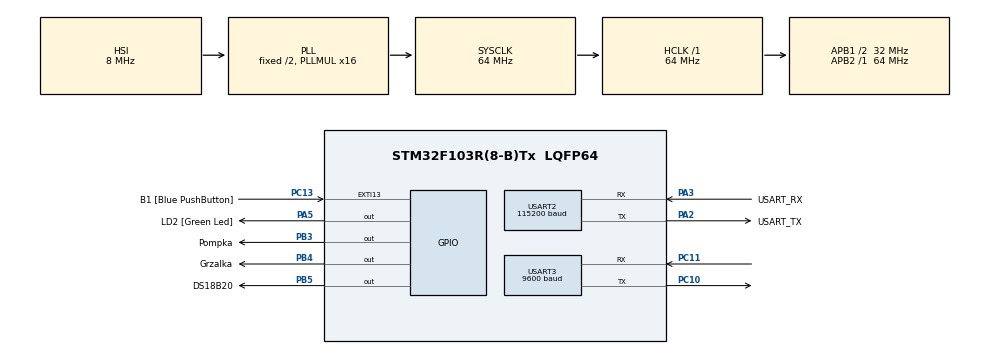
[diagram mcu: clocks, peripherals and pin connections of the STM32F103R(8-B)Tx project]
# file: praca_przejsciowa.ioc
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Dma.Request0=USART2_RX
Dma.Request1=USART2_TX
Dma.Request2=USART3_RX
Dma.Request3=USART3_TX
Dma.USART2_RX.0.Direction=DMA_PERIPH_TO_MEMORY
Dma.USART2_RX.0.Instance=DMA1_Channel6
Dma.USART2_RX.0.MemDataAlignment=DMA_MDATAALIGN_BYTE
Dma.USART2_RX.0.MemInc=DMA_MINC_ENABLE
Dma.USART2_RX.0.Mode=DMA_NORMAL
Dma.USART2_RX.0.PeriphDataAlignment=DMA_PDATAALIGN_BYTE
Dma.USART2_RX.0.PeriphInc=DMA_PINC_DISABLE
Dma.USART2_RX.0.Priority=DMA_PRIORITY_LOW
Dma.USART2_TX.1.Direction=DMA_MEMORY_TO_PERIPH
Dma.USART2_TX.1.Instance=DMA1_Channel7
Dma.USART2_TX.1.MemDataAlignment=DMA_MDATAALIGN_BYTE
Dma.USART2_TX.1.MemInc=DMA_MINC_ENABLE
Dma.USART2_TX.1.Mode=DMA_NORMAL
Dma.USART2_TX.1.PeriphDataAlignment=DMA_PDATAALIGN_BYTE
Dma.USART2_TX.1.PeriphInc=DMA_PINC_DISABLE
Dma.USART2_TX.1.Priority=DMA_PRIORITY_LOW
Dma.USART3_RX.2.Direction=DMA_PERIPH_TO_MEMORY
Dma.USART3_RX.2.Instance=DMA1_Channel3
Dma.USART3_RX.2.MemDataAlignment=DMA_MDATAALIGN_BYTE
Dma.USART3_RX.2.MemInc=DMA_MINC_ENABLE
Dma.USART3_RX.2.Mode=DMA_NORMAL
Dma.USART3_RX.2.PeriphDataAlignment=DMA_PDATAALIGN_BYTE
Dma.USART3_RX.2.PeriphInc=DMA_PINC_DISABLE
Dma.USART3_RX.2.Priority=DMA_PRIORITY_LOW
Dma.USART3_TX.3.Direction=DMA_MEMORY_TO_PERIPH
Dma.USART3_TX.3.Instance=DMA1_Channel2
Dma.USART3_TX.3.MemDataAlignment=DMA_MDATAALIGN_BYTE
Dma.USART3_TX.3.MemInc=DMA_MINC_ENABLE
Dma.USART3_TX.3.Mode=DMA_NORMAL
Dma.USART3_TX.3.PeriphDataAlignment=DMA_PDATAALIGN_BYTE
Dma.USART3_TX.3.PeriphInc=DMA_PINC_DISABLE
Dma.USART3_TX.3.Priority=DMA_PRIORITY_LOW
Mcu.Family=STM32F1
Mcu.Name=STM32F103R(8-B)Tx
Mcu.Package=LQFP64
NVIC.DMA1_Channel2_IRQn=true\:0\:0\:false\:false\:true\:false\:true
NVIC.DMA1_Channel3_IRQn=true\:0\:0\:false\:false\:true\:false\:true
NVIC.DMA1_Channel6_IRQn=true\:0\:0\:false\:false\:true\:false\:true
NVIC.DMA1_Channel7_IRQn=true\:0\:0\:false\:false\:true\:false\:true
NVIC.EXTI15_10_IRQn=true\:0\:0\:false\:false\:true\:true\:true
NVIC.PriorityGroup=NVIC_PRIORITYGROUP_4
NVIC.TIM1_BRK_IRQn=true\:0\:0\:false\:false\:true\:true\:true
NVIC.TIM1_CC_IRQn=true\:0\:0\:false\:false\:true\:true\:true
NVIC.TIM1_TRG_COM_IRQn=true\:0\:0\:false\:false\:true\:true\:true
NVIC.TIM1_UP_IRQn=true\:0\:0\:false\:false\:true\:true\:true
NVIC.TIM2_IRQn=true\:0\:0\:false\:false\:true\:true\:true
NVIC.USART2_IRQn=true\:0\:0\:false\:false\:true\:true\:true
NVIC.USART3_IRQn=true\:0\:0\:false\:false\:true\:true\:true
PA13.GPIO_Label=TMS
PA13.Mode=Serial_Wire
PA13.Signal=SYS_JTMS-SWDIO
PA14.GPIO_Label=TCK
PA14.Mode=Serial_Wire
PA14.Signal=SYS_JTCK-SWCLK
PA2.GPIO_Label=USART_TX
PA2.GPIO_Mode=GPIO_MODE_AF_PP
PA2.GPIO_PuPd=GPIO_NOPULL
PA2.GPIO_Speed=GPIO_SPEED_FREQ_LOW
PA2.Mode=Asynchronous
PA2.Signal=USART2_TX
PA3.GPIO_Label=USART_RX
PA3.GPIO_Mode=GPIO_MODE_AF_PP
PA3.GPIO_PuPd=GPIO_NOPULL
PA3.GPIO_Speed=GPIO_SPEED_FREQ_LOW
PA3.Mode=Asynchronous
PA3.Signal=USART2_RX
PA5.GPIO_Label=LD2 [Green Led]
PA5.GPIO_ModeDefaultOutputPP=GPIO_MODE_OUTPUT_PP
PA5.GPIO_PuPd=GPIO_NOPULL
PA5.GPIO_Speed=GPIO_SPEED_FREQ_LOW
PA5.Signal=GPIO_Output
PB3.GPIO_Label=Pompka
PB3.Signal=GPIO_Output
PB4.GPIO_Label=Grzalka
PB4.Signal=GPIO_Output
PB5.GPIO_Label=DS18B20
PB5.Signal=GPIO_Output
PC10.Mode=Asynchronous
PC10.Signal=USART3_TX
PC11.Mode=Asynchronous
PC11.Signal=USART3_RX
PC13-TAMPER-RTC.GPIO_Label=B1 [Blue PushButton]
PC13-TAMPER-RTC.GPIO_PuPd=GPIO_NOPULL
PC13-TAMPER-RTC.Signal=GPXTI13
PC14-OSC32_IN.Mode=LSE-External-Oscillator
PC14-OSC32_IN.Signal=RCC_OSC32_IN
PC15-OSC32_OUT.Mode=LSE-External-Oscillator
PC15-OSC32_OUT.Signal=RCC_OSC32_OUT
PD0-OSC_IN.Mode=HSE-External-Clock-Source
PD0-OSC_IN.Signal=RCC_OSC_IN
PD1-OSC_OUT.Mode=HSE-External-Clock-Source
PD1-OSC_OUT.Signal=RCC_OSC_OUT
ProjectManager.HeapSize=0x200
ProjectManager.StackSize=0x400
ProjectManager.TargetToolchain=STM32CubeIDE
RCC.AHBFreq_Value=64000000
RCC.APB1CLKDivider=RCC_HCLK_DIV2
RCC.APB1Freq_Value=32000000
RCC.APB1TimFreq_Value=64000000
RCC.APB2Freq_Value=64000000
RCC.APB2TimFreq_Value=64000000
RCC.HCLKFreq_Value=64000000
RCC.PLLMUL=RCC_PLL_MUL16
RCC.RTCClockSelection=RCC_RTCCLKSOURCE_LSE
RCC.SYSCLKFreq_VALUE=64000000
RCC.SYSCLKSource=RCC_SYSCLKSOURCE_PLLCLK
RCC.USBFreq_Value=64000000
TIM1.Period=63999
TIM1.Prescaler=999
TIM2.Period=999
TIM2.Prescaler=63
USART2.BaudRate=115200
USART2.VirtualMode=VM_ASYNC
USART2.WordLength=WORDLENGTH_9B
USART3.BaudRate=9600
USART3.VirtualMode=VM_ASYNC
USART3.WordLength=WORDLENGTH_9B
VP_TIM1_VS_ClockSourceINT.Mode=Internal
VP_TIM2_VS_ClockSourceINT.Mode=Internal
board=NUCLEO-F103RB

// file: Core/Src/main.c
/* USER CODE BEGIN Header */
/**
 ******************************************************************************
 * @file           : main.c
 * @brief          : Main program body
 ******************************************************************************
 * @attention
 *
 * <h2><center>&copy; Copyright (c) 2020 STMicroelectronics.
 * All rights reserved.</center></h2>
 *
 * This software component is licensed by ST under BSD 3-Clause license,
 * the "License"; You may not use this file except in compliance with the
 * License. You may obtain a copy of the License at:
 *                        opensource.org/licenses/BSD-3-Clause
 *
 ******************************************************************************
 */
/* USER CODE END Header */
#include "main.h"
#include "dma.h"
#include "tim.h"
#include "usart.h"
#include "gpio.h"

/* USER CODE BEGIN Includes */
#include "subroutine.h"
#include"stdbool.h"
#include <stdlib.h>
#include "DS18B20.h"
/* USER CODE END Includes */

/* USER CODE BEGIN PD */
#define SIZE_OF_MSG 60 //NEW PROG:[5];S0T12t66;T33t18,
//S1T55;000000000000000000000000000000000000000000000000000000
//S0T55H10;000000000000000000000000000000000000000000000000000
//SET PROG:S1;T50t85;T35t70;T70t30;T0t0;T0t0;P10;0000000000000
//SET PROG:S0H10;T20t40;T50t80;T50t30;T0t0;T0t85;P20;000000000
//P1;000000000000000000000000000000000000000000000000000000000
//SET PROG:S0H0;T23t1;T0t0;T0t0;T0t0;T0t0;P1;00000000000000000
//STOP PROG;00000000000000000000000000000000000000000000000000
/* USER CODE END PD */

/* USER CODE BEGIN PV */
//definicja listy
List *head;
Subroutine kociol;
bool isHeating = false; //załączenie grzania
bool regType; //true dla PID, false dla bang-bang
double measuredTemperature; //zmierzona wartość temperatury
double hist; //wartość histerezy
uint8_t temperature; //nastawiona wartość temperatury
uint8_t timeToEndHeating; //czas trwania aktualnego cyklu grzania
uint8_t pageID; // numer aktualnie wyświetlanej strony
uint8_t progID; // numer aktywnego programu
uint8_t odebranaWiadomosc[110]; //string przychodzący z płytki
uint8_t odebranaWiadomosc2[110]; //string przychodzący z płytki
uint32_t startCounterTime = 0;
uint32_t CounterPump = 0;
uint32_t CounterHeating = 0;
uint8_t CounterMeasure = 0;
extern volatile bool startPIDReg;
extern volatile bool startBangBang;
extern volatile bool startPumping;
/* USER CODE END PV */

void SystemClock_Config(void);
/* USER CODE BEGIN PFP */
void HAL_UART_RxCpltCallback(UART_HandleTypeDef *huart);
void initOneWayList();
void HAL_TIM_PeriodElapsedCallback(TIM_HandleTypeDef *htim);
void Send(UART_HandleTypeDef *uart_h, uint8_t *buffer,
		uint16_t BUFFER_SIZE);
/* USER CODE END PFP */

int main(void) {

	/* MCU Configuration--------------------------------------------------------*/

	/* Reset of all peripherals, Initializes the Flash interface and the Systick. */
	HAL_Init();

	/* Configure the system clock */
	SystemClock_Config();

	/* Initialize all configured peripherals */
	MX_GPIO_Init();
	MX_DMA_Init();
	MX_USART2_UART_Init();
	MX_TIM1_Init();
	MX_TIM2_Init();
	MX_USART3_UART_Init();
	/* USER CODE BEGIN 2 */
	HAL_UART_Receive_DMA(&huart2, odebranaWiadomosc, SIZE_OF_MSG);
	HAL_UART_Receive_DMA(&huart3, odebranaWiadomosc2, SIZE_OF_MSG);
	HAL_TIM_Base_Start_IT(&htim2);
	HAL_TIM_Base_Start_IT(&htim1);
	subroutine_Init(&kociol);
	//initOneWayList();
	/* USER CODE END 2 */

	/* Infinite loop */
	/* USER CODE BEGIN WHILE */
	while (1) {
		if (startMeasure) {
			DS18B20_Full(&measuredTemperature);
			startMeasure = 0;
			if (measuredTemperature > 1.0) {
				uint8_t msg[100];
				uint8_t msg2[100];
				uint8_t x = 255;
				sprintf(msg,
						(const char*) "Wartosc temperatury wynosi %.1lf\n\r",
						measuredTemperature);
				HAL_UART_Transmit_DMA(&huart2, msg, strlen(msg));
				HAL_Delay(1);
				sprintf(msg2,
						(const char*) textConversion(measuredTemperature,
								"t_aktualna"));
				HAL_UART_Transmit_DMA(&huart2, msg2, strlen(msg2));
				HAL_Delay(1);
				HAL_UART_Transmit_DMA(&huart2, &x, sizeof(x));
				HAL_Delay(1);
				HAL_UART_Transmit_DMA(&huart2, &x, sizeof(x));
				HAL_Delay(1);
				HAL_UART_Transmit_DMA(&huart2, &x, sizeof(x));
				HAL_Delay(1);
				HAL_UART_Transmit_DMA(&huart3, msg2, strlen(msg2));
				HAL_Delay(1);
				HAL_UART_Transmit_DMA(&huart3, &x, sizeof(x));
				HAL_Delay(1);
				HAL_UART_Transmit_DMA(&huart3, &x, sizeof(x));
				HAL_Delay(1);
				HAL_UART_Transmit_DMA(&huart3, &x, sizeof(x));
			}
		}
		if (startBangBang) {
			static uint8_t numberOfCycle = 0;
			grzanieRegDwustawna(kociol.heatingCycle[numberOfCycle][0],
					kociol.heatingCycle[numberOfCycle][1], kociol.hist,
					&numberOfCycle);
		} else if (startPIDReg) {

		} else if (startPumping) {
			pumping(kociol.pumpingTime);
		} else if (startPumpingWithoutTime) {

		}
		/* USER CODE END WHILE */

	}
}

void SystemClock_Config(void) {
	RCC_OscInitTypeDef RCC_OscInitStruct = { 0 };
	RCC_ClkInitTypeDef RCC_ClkInitStruct = { 0 };

	/** Initializes the RCC Oscillators according to the specified parameters
	 * in the RCC_OscInitTypeDef structure.
	 */
	RCC_OscInitStruct.OscillatorType = RCC_OSCILLATORTYPE_HSI;
	RCC_OscInitStruct.HSIState = RCC_HSI_ON;
	RCC_OscInitStruct.HSICalibrationValue = RCC_HSICALIBRATION_DEFAULT;
	RCC_OscInitStruct.PLL.PLLState = RCC_PLL_ON;
	RCC_OscInitStruct.PLL.PLLSource = RCC_PLLSOURCE_HSI_DIV2;
	RCC_OscInitStruct.PLL.PLLMUL = RCC_PLL_MUL16;
	if (HAL_RCC_OscConfig(&RCC_OscInitStruct) != HAL_OK) {
		Error_Handler();
	}
	/** Initializes the CPU, AHB and APB buses clocks
	 */
	RCC_ClkInitStruct.ClockType = RCC_CLOCKTYPE_HCLK | RCC_CLOCKTYPE_SYSCLK
			| RCC_CLOCKTYPE_PCLK1 | RCC_CLOCKTYPE_PCLK2;
	RCC_ClkInitStruct.SYSCLKSource = RCC_SYSCLKSOURCE_PLLCLK;
	RCC_ClkInitStruct.AHBCLKDivider = RCC_SYSCLK_DIV1;
	RCC_ClkInitStruct.APB1CLKDivider = RCC_HCLK_DIV2;
	RCC_ClkInitStruct.APB2CLKDivider = RCC_HCLK_DIV1;

	if (HAL_RCC_ClockConfig(&RCC_ClkInitStruct, FLASH_LATENCY_2) != HAL_OK) {
		Error_Handler();
	}
}

/* USER CODE BEGIN 4 */
/*void Send(UART_HandleTypeDef *huart, uint8_t *pData, uint16_t Size) {
	HAL_UART_IRQHandler(huart); // Should reset gState to HAL_UART_STATE_READY
	HAL_UART_Transmit_DMA(huart, pData, Size);
}*/
void HAL_UART_RxCpltCallback(UART_HandleTypeDef *huart) {
	if (huart->Instance == USART2) {
		HAL_UART_Receive_DMA(&huart2, odebranaWiadomosc, SIZE_OF_MSG);

		HAL_GPIO_TogglePin(LD2_GPIO_Port, LD2_Pin);
		setProgram(odebranaWiadomosc, &kociol);
		//convertToStucture(odebranaWiadomosc, &head);

	}
	if (huart->Instance == USART3) {
		HAL_UART_Receive_DMA(&huart3, odebranaWiadomosc2, SIZE_OF_MSG);
		HAL_GPIO_TogglePin(LD2_GPIO_Port, LD2_Pin);
		HAL_UART_Transmit_DMA(&huart2, odebranaWiadomosc2,
				sizeof(odebranaWiadomosc2));
		setProgram(odebranaWiadomosc2, &kociol);

	}
}
‍‍‍‍‍‍‍‍‍‍‍‍‍‍void HAL_TIM_PeriodElapsedCallback(TIM_HandleTypeDef *htim) {

	if (htim->Instance == TIM1) {

		//przerwanie co 1 sekundę
		startCounterTime++;
		CounterPump++;
		CounterHeating++;
		CounterMeasure++;
		//pomiar co 3s
		if (CounterMeasure >= 3) {
			CounterMeasure = 0;
			startMeasure = 1;
		}
	}
}

void initOneWayList() {
	head = (List*) malloc(sizeof(List));
	head = NULL;

}

/* USER CODE END 4 */

void Error_Handler(void) {
}

/************************ (C) COPYRIGHT STMicroelectronics *****END OF FILE****/
